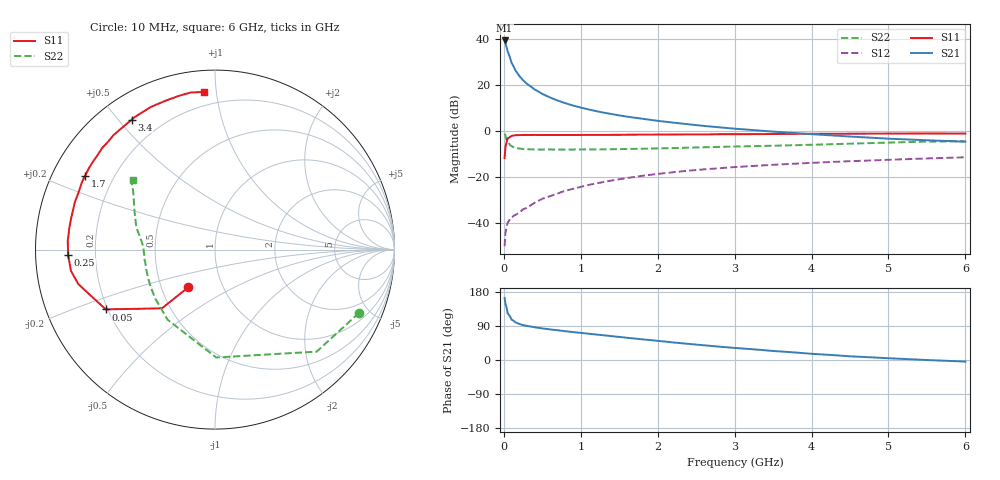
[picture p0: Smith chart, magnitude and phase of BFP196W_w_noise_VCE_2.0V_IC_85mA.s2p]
! Infineon Technologies  Discrete & RF Semiconductors
! BFP196W
! VCE =  2.0 V,  IC =  85 mA
! Common Emitter S-Parameters:  Jan 2017
# GHz  S  MA  R  50
!  f  S11  S21  S12  S22
! GHz  MAG  ANG  MAG  ANG  MAG  ANG  MAG  ANG
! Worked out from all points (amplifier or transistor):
!   77 points, 10 MHz to 6 GHz, reference 50 ohm
!   highest |S21| = 39.5 dB at 10 MHz (marker M1)
!   |S21| within 3 dB of that: start of sweep to 35.86 MHz
!   unconditionally stable (mu >= 1): 479.8 MHz to 3.412 GHz
!   at 130 MHz: K = 0.61, MSG = 32.4 dB, |S12| = -37.0 dB
!   at 2.2 GHz: K = 1.04, MAG = 9.6 dB, |S12| = -18.0 dB
!   at 6 GHz: K = 0.97, MSG = 3.4 dB, |S12| = -11.4 dB
!   lowest NFmin = 1.73 dB at 450 MHz
!   S11 on the Smith chart (normalised r, x): 10 MHz: 0.69, -0.31; 50 MHz: 0.19, -0.25; 250 MHz: 0.10, -0.02; 1.7 GHz: 0.10, +0.26; 3.4 GHz: 0.10, +0.54; 6 GHz: 0.12, +0.93
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0.01  0.2568 -125.3  94.14 163.8  0.0031 74.3  0.8765 -23.7
0.02  0.4407 -132.1  84.28 148.8  0.0059 65.5  0.8026 -45.1
0.05  0.6937 -151.3  54.19 122.7  0.0101 47.6  0.6013 -89.3
0.1  0.785 -165.8  30.78 106.4  0.0132 46.4  0.4717 -124.0
0.15  0.8113 -171.6  21.1 99.6  0.0149 48.0  0.4302 -140.7
0.2  0.8146 -175.4  15.94 95.2  0.0166 52.2  0.4147 -149.7
0.25  0.8198 -177.9  12.8 92.2  0.0198 55.1  0.4061 -156.0
0.3  0.8191 179.9  10.68 90.0  0.0212 59.5  0.4017 -160.0
0.4  0.8219 176.7  8.056 86.3  0.0273 63.1  0.3976 -165.6
0.5  0.8201 174.1  6.446 83.4  0.0333 64.1  0.3952 -169.2
0.6  0.8208 171.8  5.388 80.8  0.0381 65.6  0.3964 -171.7
0.7  0.8201 169.8  4.615 78.5  0.0436 67.4  0.3947 -173.7
0.9  0.8204 165.4  3.589 73.7  0.055 67.1  0.3959 -176.7
1.1  0.824 161.7  2.961 69.4  0.067 66.7  0.3976 -179.2
1.3  0.824 157.8  2.512 65.2  0.078 65.6  0.3991 178.6
1.7  0.8322 150.4  1.951 56.7  0.1 62.6  0.4089 174.5
2.1  0.8383 143.1  1.597 48.5  0.1214 58.5  0.4223 170.8
3.1  0.8539 127.0  1.093 30.4  0.1678 48.2  0.4633 162.0
3.4  0.8601 122.6  1.001 25.6  0.1797 45.4  0.4745 159.2
4.1  0.8713 113.0  0.835 15.2  0.2062 38.9  0.5079 152.4
5.1  0.8808 102.3  0.671 3.7  0.2394 30.5  0.5656 143.9
6  0.8805 94.0  0.585 -4.2  0.268 23.3  0.601 139.5
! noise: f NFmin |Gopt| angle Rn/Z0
0.45  1.73  0.57  -175  0.06
0.9  1.87  0.6  -168  0.08
1.9  2.74  0.7  -148  0.21
2.4  3.15  0.74  -143  0.34
